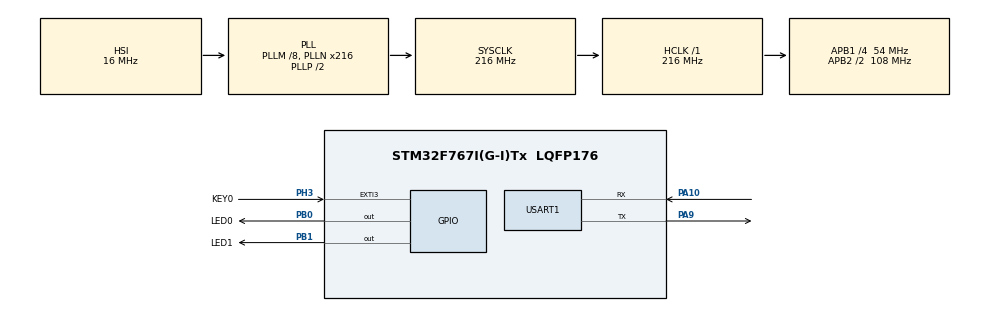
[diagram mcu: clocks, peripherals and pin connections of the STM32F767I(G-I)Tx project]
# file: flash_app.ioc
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CORTEX_M7.CPU_DCache=Enabled
CORTEX_M7.CPU_ICache=Enabled
Dma.Request0=USART1_TX
Dma.Request1=USART1_RX
Dma.USART1_RX.1.Direction=DMA_PERIPH_TO_MEMORY
Dma.USART1_RX.1.FIFOMode=DMA_FIFOMODE_DISABLE
Dma.USART1_RX.1.Instance=DMA2_Stream2
Dma.USART1_RX.1.MemDataAlignment=DMA_MDATAALIGN_BYTE
Dma.USART1_RX.1.MemInc=DMA_MINC_ENABLE
Dma.USART1_RX.1.Mode=DMA_NORMAL
Dma.USART1_RX.1.PeriphDataAlignment=DMA_PDATAALIGN_BYTE
Dma.USART1_RX.1.PeriphInc=DMA_PINC_DISABLE
Dma.USART1_RX.1.Priority=DMA_PRIORITY_LOW
Dma.USART1_TX.0.Direction=DMA_MEMORY_TO_PERIPH
Dma.USART1_TX.0.FIFOMode=DMA_FIFOMODE_DISABLE
Dma.USART1_TX.0.Instance=DMA2_Stream7
Dma.USART1_TX.0.MemDataAlignment=DMA_MDATAALIGN_BYTE
Dma.USART1_TX.0.MemInc=DMA_MINC_ENABLE
Dma.USART1_TX.0.Mode=DMA_NORMAL
Dma.USART1_TX.0.PeriphDataAlignment=DMA_PDATAALIGN_BYTE
Dma.USART1_TX.0.PeriphInc=DMA_PINC_DISABLE
Dma.USART1_TX.0.Priority=DMA_PRIORITY_LOW
FREERTOS.Tasks01=defaultTask,0,4096,StartDefaultTask,Default,NULL,Dynamic,NULL,NULL
FREERTOS.configMINIMAL_STACK_SIZE=2048
FREERTOS.configTOTAL_HEAP_SIZE=102400
FREERTOS.configUSE_NEWLIB_REENTRANT=1
Mcu.Family=STM32F7
Mcu.Name=STM32F767I(G-I)Tx
Mcu.Package=LQFP176
NVIC.DMA2_Stream2_IRQn=true\:5\:0\:false\:false\:true\:true\:false\:true\:true
NVIC.DMA2_Stream7_IRQn=true\:5\:0\:false\:false\:true\:true\:false\:true\:true
NVIC.EXTI3_IRQn=true\:5\:0\:false\:false\:true\:true\:true\:true\:true
NVIC.PriorityGroup=NVIC_PRIORITYGROUP_4
NVIC.TIM1_UP_TIM10_IRQn=true\:15\:0\:false\:false\:true\:false\:false\:true\:true
NVIC.TimeBase=TIM1_UP_TIM10_IRQn
NVIC.TimeBaseIP=TIM10
NVIC.USART1_IRQn=true\:5\:0\:false\:false\:true\:true\:true\:true\:true
PA10.Mode=Asynchronous
PA10.Signal=USART1_RX
PA13.Mode=Trace_Synchro_4bits_JTAG
PA13.Signal=SYS_JTMS-SWDIO
PA14.Mode=Trace_Synchro_4bits_JTAG
PA14.Signal=SYS_JTCK-SWCLK
PA15.Mode=Trace_Synchro_4bits_JTAG
PA15.Signal=SYS_JTDI
PA9.Mode=Asynchronous
PA9.Signal=USART1_TX
PB0.GPIO_Label=LED0
PB0.PinState=GPIO_PIN_SET
PB0.Signal=GPIO_Output
PB1.GPIO_Label=LED1
PB1.PinState=GPIO_PIN_SET
PB1.Signal=GPIO_Output
PB2.Signal=QUADSPI_CLK
PB3.Mode=Trace_Synchro_4bits_JTAG
PB3.Signal=SYS_JTDO-SWO
PB6.Signal=QUADSPI_BK1_NCS
PC14/OSC32_IN.Mode=LSE-External-Oscillator
PC14/OSC32_IN.Signal=RCC_OSC32_IN
PC15/OSC32_OUT.Mode=LSE-External-Oscillator
PC15/OSC32_OUT.Signal=RCC_OSC32_OUT
PE2.Mode=Trace_Synchro_4bits_JTAG
PE2.Signal=SYS_TRACECLK
PE3.Mode=Trace_Synchro_4bits_JTAG
PE3.Signal=SYS_TRACED0
PE4.Mode=Trace_Synchro_4bits_JTAG
PE4.Signal=SYS_TRACED1
PE5.Mode=Trace_Synchro_4bits_JTAG
PE5.Signal=SYS_TRACED2
PE6.Mode=Trace_Synchro_4bits_JTAG
PE6.Signal=SYS_TRACED3
PG13.Signal=ETH_TXD0
PG14.Signal=ETH_TXD1
PH0/OSC_IN.Mode=HSE-External-Oscillator
PH0/OSC_IN.Signal=RCC_OSC_IN
PH1/OSC_OUT.Mode=HSE-External-Oscillator
PH1/OSC_OUT.Signal=RCC_OSC_OUT
PH3.GPIO_Label=KEY0
PH3.GPIO_ModeDefaultEXTI=GPIO_MODE_IT_FALLING
PH3.GPIO_PuPd=GPIO_PULLUP
PH3.Signal=GPXTI3
ProjectManager.HeapSize=0x2000
ProjectManager.StackSize=0x2000
ProjectManager.TargetToolchain=STM32CubeIDE
RCC.AHBFreq_Value=216000000
RCC.APB1CLKDivider=RCC_HCLK_DIV4
RCC.APB1Freq_Value=54000000
RCC.APB1TimFreq_Value=108000000
RCC.APB2CLKDivider=RCC_HCLK_DIV2
RCC.APB2Freq_Value=108000000
RCC.APB2TimFreq_Value=216000000
RCC.CortexFreq_Value=216000000
RCC.HCLKFreq_Value=216000000
RCC.HSE_VALUE=25000000
RCC.HSI_VALUE=16000000
RCC.PLLM=8
RCC.PLLN=216
RCC.SYSCLKFreq_VALUE=216000000
RCC.SYSCLKSource=RCC_SYSCLKSOURCE_PLLCLK
RCC.USART1CLockSelection=RCC_USART1CLKSOURCE_SYSCLK
RCC.USBFreq_Value=216000000
RCC.VCOOutputFreq_Value=432000000
USART1.VirtualMode-Asynchronous=VM_ASYNC
VP_FREERTOS_VS_CMSIS_V1.Mode=CMSIS_V1
VP_SYS_VS_tim10.Mode=TIM10
board=custom

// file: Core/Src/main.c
/* USER CODE BEGIN Header */
/**
  ******************************************************************************
  * @file           : main.c
  * @brief          : Main program body
  ******************************************************************************
  * @attention
  *
  * Copyright (c) 2024 STMicroelectronics.
  * All rights reserved.
  *
  * This software is licensed under terms that can be found in the LICENSE file
  * in the root directory of this software component.
  * If no LICENSE file comes with this software, it is provided AS-IS.
  *
  ******************************************************************************
  */
/* USER CODE END Header */
#include "main.h"
#include "cmsis_os.h"
#include "dma.h"
#include "usart.h"
#include "gpio.h"

/* USER CODE BEGIN Includes */
#include "delay.h"
/* USER CODE END Includes */

void SystemClock_Config(void);
void MX_FREERTOS_Init(void);

int main(void)
{
  /* USER CODE BEGIN 1 */
  SCB->VTOR = FLASH_BASE | 0x40000;
  /* USER CODE END 1 */
/* Enable the CPU Cache */

  /* Enable I-Cache---------------------------------------------------------*/
  SCB_EnableICache();

  /* Enable D-Cache---------------------------------------------------------*/
  SCB_EnableDCache();

  /* MCU Configuration--------------------------------------------------------*/

  /* Reset of all peripherals, Initializes the Flash interface and the Systick. */
  HAL_Init();

  /* Configure the system clock */
  SystemClock_Config();

  /* USER CODE BEGIN SysInit */
  SCB->CACR|=1<<2;
  delay_init();
  /* USER CODE END SysInit */

  /* Initialize all configured peripherals */
  MX_GPIO_Init();
  MX_DMA_Init();
  MX_USART1_UART_Init();

  /* Call init function for freertos objects (in freertos.c) */
  MX_FREERTOS_Init();

  /* Start scheduler */
  osKernelStart();

  /* We should never get here as control is now taken by the scheduler */
  /* Infinite loop */
  while (1)
  {

  }
}

void SystemClock_Config(void)
{
  RCC_OscInitTypeDef RCC_OscInitStruct = {0};
  RCC_ClkInitTypeDef RCC_ClkInitStruct = {0};

  /** Configure LSE Drive Capability
  */
  HAL_PWR_EnableBkUpAccess();

  /** Configure the main internal regulator output voltage
  */
  __HAL_RCC_PWR_CLK_ENABLE();
  __HAL_PWR_VOLTAGESCALING_CONFIG(PWR_REGULATOR_VOLTAGE_SCALE1);

  /** Initializes the RCC Oscillators according to the specified parameters
  * in the RCC_OscInitTypeDef structure.
  */
  RCC_OscInitStruct.OscillatorType = RCC_OSCILLATORTYPE_HSI;
  RCC_OscInitStruct.HSIState = RCC_HSI_ON;
  RCC_OscInitStruct.HSICalibrationValue = RCC_HSICALIBRATION_DEFAULT;
  RCC_OscInitStruct.PLL.PLLState = RCC_PLL_ON;
  RCC_OscInitStruct.PLL.PLLSource = RCC_PLLSOURCE_HSI;
  RCC_OscInitStruct.PLL.PLLM = 8;
  RCC_OscInitStruct.PLL.PLLN = 216;
  RCC_OscInitStruct.PLL.PLLP = RCC_PLLP_DIV2;
  RCC_OscInitStruct.PLL.PLLQ = 2;
  RCC_OscInitStruct.PLL.PLLR = 2;
  if (HAL_RCC_OscConfig(&RCC_OscInitStruct) != HAL_OK)
  {
    Error_Handler();
  }

  /** Activate the Over-Drive mode
  */
  if (HAL_PWREx_EnableOverDrive() != HAL_OK)
  {
    Error_Handler();
  }

  /** Initializes the CPU, AHB and APB buses clocks
  */
  RCC_ClkInitStruct.ClockType = RCC_CLOCKTYPE_HCLK|RCC_CLOCKTYPE_SYSCLK
                              |RCC_CLOCKTYPE_PCLK1|RCC_CLOCKTYPE_PCLK2;
  RCC_ClkInitStruct.SYSCLKSource = RCC_SYSCLKSOURCE_PLLCLK;
  RCC_ClkInitStruct.AHBCLKDivider = RCC_SYSCLK_DIV1;
  RCC_ClkInitStruct.APB1CLKDivider = RCC_HCLK_DIV4;
  RCC_ClkInitStruct.APB2CLKDivider = RCC_HCLK_DIV2;

  if (HAL_RCC_ClockConfig(&RCC_ClkInitStruct, FLASH_LATENCY_7) != HAL_OK)
  {
    Error_Handler();
  }
}

void HAL_TIM_PeriodElapsedCallback(TIM_HandleTypeDef *htim)
{
  if (htim->Instance == TIM10) {
    HAL_IncTick();
  }
}

void Error_Handler(void)
{
  __disable_irq();
  while (1)
  {
  }
}

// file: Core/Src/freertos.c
/* USER CODE BEGIN Header */
/**
  ******************************************************************************
  * File Name          : freertos.c
  * Description        : Code for freertos applications
  ******************************************************************************
  * @attention
  *
  * Copyright (c) 2024 STMicroelectronics.
  * All rights reserved.
  *
  * This software is licensed under terms that can be found in the LICENSE file
  * in the root directory of this software component.
  * If no LICENSE file comes with this software, it is provided AS-IS.
  *
  ******************************************************************************
  */
/* USER CODE END Header */

#include "FreeRTOS.h"
#include "task.h"
#include "main.h"
#include "cmsis_os.h"

/* USER CODE BEGIN Includes */
#include <stdio.h>
#include <stdbool.h>
#include "usart.h"
/* USER CODE END Includes */

/* USER CODE BEGIN Variables */
osThreadId dmaReceiveTaskHandle;
/* USER CODE END Variables */
osThreadId defaultTaskHandle;

/* USER CODE BEGIN FunctionPrototypes */

void StartTask03(void const * argument);
/* USER CODE END FunctionPrototypes */

void StartDefaultTask(void const * argument);

void MX_FREERTOS_Init(void); /* (MISRA C 2004 rule 8.1) */

/* GetIdleTaskMemory prototype (linked to static allocation support) */
void vApplicationGetIdleTaskMemory( StaticTask_t **ppxIdleTaskTCBBuffer, StackType_t **ppxIdleTaskStackBuffer, uint32_t *pulIdleTaskStackSize );

/* USER CODE BEGIN GET_IDLE_TASK_MEMORY */
static StaticTask_t xIdleTaskTCBBuffer;
static StackType_t xIdleStack[configMINIMAL_STACK_SIZE];

void vApplicationGetIdleTaskMemory( StaticTask_t **ppxIdleTaskTCBBuffer, StackType_t **ppxIdleTaskStackBuffer, uint32_t *pulIdleTaskStackSize )
{
  *ppxIdleTaskTCBBuffer = &xIdleTaskTCBBuffer;
  *ppxIdleTaskStackBuffer = &xIdleStack[0];
  *pulIdleTaskStackSize = configMINIMAL_STACK_SIZE;
  /* place for user code */
}
/* USER CODE END GET_IDLE_TASK_MEMORY */

void MX_FREERTOS_Init(void) {

  /* Create the thread(s) */
  /* definition and creation of defaultTask */
  osThreadDef(defaultTask, StartDefaultTask, osPriorityNormal, 0, 4096);
  defaultTaskHandle = osThreadCreate(osThread(defaultTask), NULL);

  /* USER CODE BEGIN RTOS_THREADS */
  /* add threads, ... */
//  osThreadDef(dmaReceiveTask, StartTask03, osPriorityIdle, 0, 2048);
//  dmaReceiveTaskHandle = osThreadCreate(osThread(dmaReceiveTask), NULL);
  /* USER CODE END RTOS_THREADS */

}

void StartDefaultTask(void const * argument)
{
  /* USER CODE BEGIN StartDefaultTask */
  /* Infinite loop */

  printf("flashapp defult task started!!!\r\n");

  for(;;)
  {
	  HAL_GPIO_WritePin(GPIOB, LED1_Pin, GPIO_PIN_SET);
	  osDelay(500);
	  HAL_GPIO_WritePin(GPIOB, LED1_Pin, GPIO_PIN_RESET);
	  osDelay(500);

	  printf("hello flashApp\r\n");

  }
  /* USER CODE END StartDefaultTask */
}

/* USER CODE BEGIN Application */
void StartTask03(void const * argument)
{
  while(1){
    //do nothing
  }

}

void HAL_UART_RxCpltCallback(UART_HandleTypeDef *huart){

}
/* USER CODE END Application */
